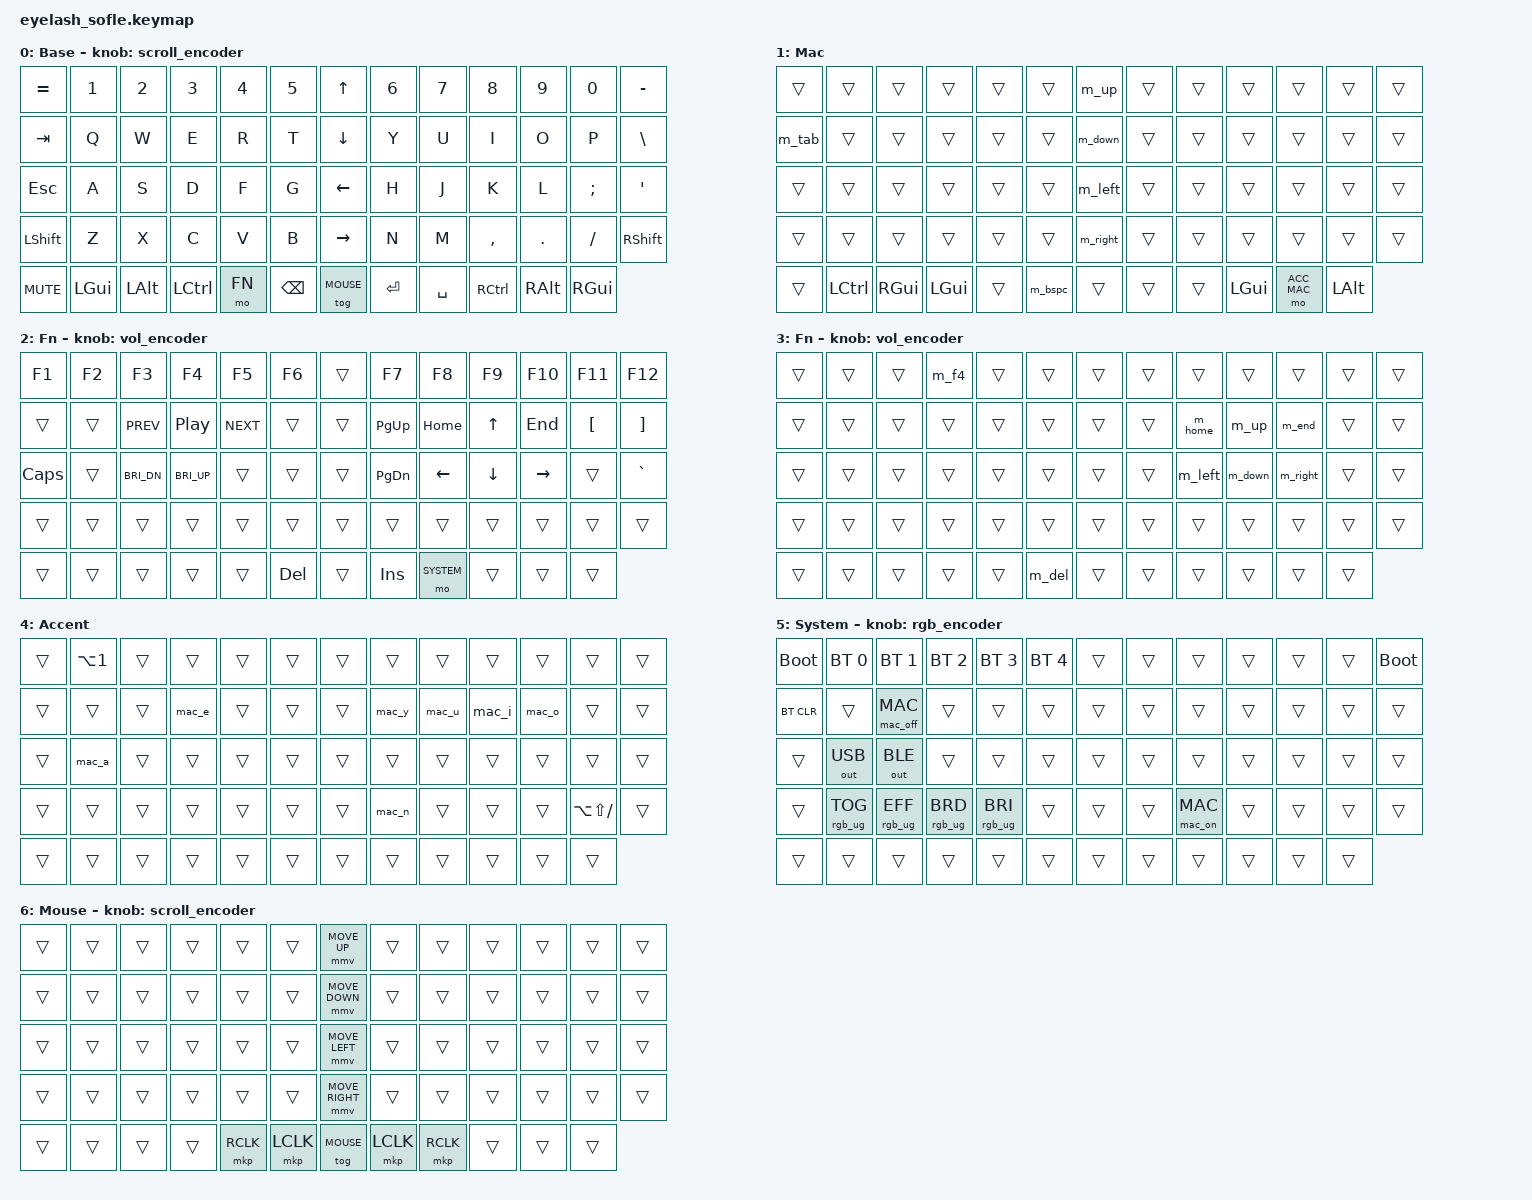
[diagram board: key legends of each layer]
#define ZMK_POINTING_DEFAULT_MOVE_VAL 1200  // 600
// Scroll speed. The scroll behavior moves every 16 ms and drops fractions, so
// 140/s gives two notches per dial click (see tap-ms on scroll_encoder).
#define ZMK_POINTING_DEFAULT_SCRL_VAL 140   // 10

#include <input/processors.dtsi>
#include <zephyr/dt-bindings/input/input-event-codes.h>
#include <behaviors.dtsi>
#include <dt-bindings/zmk/bt.h>
#include <dt-bindings/zmk/keys.h>
#include <dt-bindings/zmk/outputs.h>
#include <dt-bindings/zmk/pointing.h>
#include <dt-bindings/zmk/rgb.h>
#include <behaviors/runtime-sensor-rotate.dtsi>

// Layers. Order matters: a higher number wins when several are active.
#define BASE    0
#define MAC     1   // Mac mode: Windows-style Ctrl/Alt shortcuts, right Alt is Accent
#define FN      2   // left Fn thumb
#define FN_MAC  3   // Fn while in Mac mode
#define ACC_MAC 4   // right Alt in Mac mode
#define SYSTEM  5   // hold Fn, then hold Space
#define MOUSE   6   // joystick click toggles

// In Mac mode the Ctrl keys send left Cmd and the Alt key sends right Cmd,
// so the two can be told apart below.
#define CTRL_HELD (MOD_LGUI)
#define ALT_HELD  (MOD_RGUI)

&mmv_input_listener { input-processors = <&zip_xy_scaler 2 1>; };

&msc {
    acceleration-exponent = <0>;      // 0
    time-to-max-speed-ms = <0>;       // 300
    delay-ms = <0>;                   // 0
};

&mmv {
    time-to-max-speed-ms = <400>;
    acceleration-exponent = <1>;
};

&soft_off { hold-time-ms = <2000>; };

// Mac accents: Option+<dead key>, then the letter. Shift gives the capital.
#define MAC_ACCENT(name, dead, key) \
    name##_lo: name##_lo { \
        compatible = "zmk,behavior-macro"; \
        #binding-cells = <0>; \
        bindings = <&macro_tap &kp dead &kp key>; \
    }; \
    name##_up: name##_up { \
        compatible = "zmk,behavior-macro"; \
        #binding-cells = <0>; \
        bindings = <&macro_tap &kp dead &kp LS(key)>; \
    }; \
    name: name { \
        compatible = "zmk,behavior-mod-morph"; \
        #binding-cells = <0>; \
        bindings = <&name##_lo>, <&name##_up>; \
        mods = <(MOD_LSFT|MOD_RSFT)>; \
    };

// Sends `morphed` instead of `normal` while one of `mods` is held
// (the held modifier is not sent along with it).
#define MORPH(name, normal, morphed, held) \
    name: name { \
        compatible = "zmk,behavior-mod-morph"; \
        #binding-cells = <0>; \
        bindings = <normal>, <morphed>; \
        mods = <held>; \
    };

/ {
    behaviors {
        scroll_encoder: scroll_encoder {
            compatible = "zmk,behavior-sensor-rotate";
            #sensor-binding-cells = <0>;
            bindings = <&msc SCRL_UP>, <&msc SCRL_DOWN>;

            tap-ms = <20>;
        };

        vol_encoder: vol_encoder {
            compatible = "zmk,behavior-sensor-rotate";
            #sensor-binding-cells = <0>;
            bindings = <&kp C_VOL_UP>, <&kp C_VOL_DN>;
        };

        rgb_encoder: rgb_encoder {
            compatible = "zmk,behavior-sensor-rotate";
            #sensor-binding-cells = <0>;
            bindings = <&rgb_ug RGB_BRI>, <&rgb_ug RGB_BRD>;
        };

        MAC_ACCENT(mac_a, LA(E), A)
        MAC_ACCENT(mac_e, LA(E), E)
        MAC_ACCENT(mac_i, LA(E), I)
        MAC_ACCENT(mac_o, LA(E), O)
        MAC_ACCENT(mac_u, LA(E), U)
        MAC_ACCENT(mac_n, LA(N), N)
        MAC_ACCENT(mac_y, LA(U), U)

        // Mac mode keys that act like Windows shortcuts.
        MORPH(m_tab,   &kp TAB,       &kp LC(TAB),   CTRL_HELD)  // Ctrl+Tab: next tab
        MORPH(m_left,  &kp LEFT,      &kp LA(LEFT),  CTRL_HELD)  // Ctrl+arrow: by word
        MORPH(m_right, &kp RIGHT,     &kp LA(RIGHT), CTRL_HELD)
        MORPH(m_up,    &kp UP,        &kp LA(UP),    CTRL_HELD)
        MORPH(m_down,  &kp DOWN,      &kp LA(DOWN),  CTRL_HELD)
        MORPH(m_bspc,  &kp BSPC,      &kp LA(BSPC),  CTRL_HELD)  // delete word
        MORPH(m_del,   &kp DEL,       &kp LA(DEL),   CTRL_HELD)
        MORPH(m_home,  &kp LG(LEFT),  &kp LG(UP),    CTRL_HELD)  // line / document start
        MORPH(m_end,   &kp LG(RIGHT), &kp LG(DOWN),  CTRL_HELD)
        MORPH(m_f4,    &kp F4,        &kp LG(Q),     ALT_HELD)   // Alt+F4: quit app

        mac_on: mac_on {
            compatible = "zmk,behavior-toggle-layer";
            #binding-cells = <1>;
            toggle-mode = "on";
        };

        mac_off: mac_off {
            compatible = "zmk,behavior-toggle-layer";
            #binding-cells = <1>;
            toggle-mode = "off";
        };
    };

    combos {
        compatible = "zmk,combos";

        // Hold Q+S+Z for 2 s: deep sleep. Press reset to wake.
        softoff {
            bindings = <&soft_off>;
            key-positions = <14 28 40>;
        };

        // Brackets: press both keys together. Only on the base layer (and Mac
        // mode), only if both go down within 30 ms, and not mid-typing.
        lbkt {  // E+R
            bindings = <&kp LBKT>;
            key-positions = <16 17>;
            layers = <BASE MAC>;
            timeout-ms = <30>;
            require-prior-idle-ms = <150>;
        };
        rbkt {  // U+I
            bindings = <&kp RBKT>;
            key-positions = <21 22>;
            layers = <BASE MAC>;
            timeout-ms = <30>;
            require-prior-idle-ms = <150>;
        };
        lpar {  // D+F
            bindings = <&kp LPAR>;
            key-positions = <29 30>;
            layers = <BASE MAC>;
            timeout-ms = <30>;
            require-prior-idle-ms = <150>;
        };
        rpar {  // J+K
            bindings = <&kp RPAR>;
            key-positions = <34 35>;
            layers = <BASE MAC>;
            timeout-ms = <30>;
            require-prior-idle-ms = <150>;
        };
        lbrc {  // C+V
            bindings = <&kp LBRC>;
            key-positions = <42 43>;
            layers = <BASE MAC>;
            timeout-ms = <30>;
            require-prior-idle-ms = <150>;
        };
        rbrc {  // M+,
            bindings = <&kp RBRC>;
            key-positions = <47 48>;
            layers = <BASE MAC>;
            timeout-ms = <30>;
            require-prior-idle-ms = <150>;
        };
        bslh {  // T+Y
            bindings = <&kp BSLH>;
            key-positions = <18 20>;
            layers = <BASE MAC>;
            timeout-ms = <30>;
            require-prior-idle-ms = <150>;
        };
        pipe {  // G+H
            bindings = <&kp PIPE>;
            key-positions = <31 33>;
            layers = <BASE MAC>;
            timeout-ms = <30>;
            require-prior-idle-ms = <150>;
        };
    };

    keymap {
        compatible = "zmk,keymap";

        // Right Alt is AltGr: with Windows "United States-International" or
        // Linux "English (US, intl., with AltGr dead keys)" it types
        // á é í ó ú ñ ü ¡ ¿ (RAlt + a e i o u n y 1 /).
        base {
            display-name = "Base";
            bindings = <
&kp EQUAL   &kp N1    &kp N2    &kp N3     &kp N4     &kp N5     &kp UP          &kp N6     &kp N7     &kp N8      &kp N9     &kp N0     &kp MINUS
&kp TAB     &kp Q     &kp W     &kp E      &kp R      &kp T      &kp DOWN        &kp Y      &kp U      &kp I       &kp O      &kp P      &kp BSLH
&kp ESC     &kp A     &kp S     &kp D      &kp F      &kp G      &kp LEFT        &kp H      &kp J      &kp K       &kp L      &kp SEMI   &kp SQT
&kp LSHFT   &kp Z     &kp X     &kp C      &kp V      &kp B      &kp RIGHT       &kp N      &kp M      &kp COMMA   &kp DOT    &kp FSLH   &kp RSHFT
&kp C_MUTE  &kp LGUI  &kp LALT  &kp LCTRL  &mo FN     &kp BSPC   &tog MOUSE      &kp ENTER  &kp SPACE  &kp RCTRL   &kp RALT   &kp RGUI
            >;
            sensor-bindings = <&scroll_encoder>;
        };

        // Mac mode: Ctrl and Alt send Cmd (Ctrl+C, Alt+Tab work as on Windows),
        // left Win is the Mac's Ctrl, right Win is Option, right Alt is Accent.
        mac {
            display-name = "Mac";
            bindings = <
&trans   &trans     &trans     &trans     &trans  &trans   &m_up     &trans  &trans  &trans     &trans       &trans    &trans
&m_tab   &trans     &trans     &trans     &trans  &trans   &m_down   &trans  &trans  &trans     &trans       &trans    &trans
&trans   &trans     &trans     &trans     &trans  &trans   &m_left   &trans  &trans  &trans     &trans       &trans    &trans
&trans   &trans     &trans     &trans     &trans  &trans   &m_right  &trans  &trans  &trans     &trans       &trans    &trans
&trans   &kp LCTRL  &kp RGUI   &kp LGUI   &trans  &m_bspc  &trans    &trans  &trans  &kp LGUI   &mo ACC_MAC  &kp LALT
            >;
        };

        fn {
            display-name = "Fn";
            bindings = <
&kp F1     &kp F2  &kp F3          &kp F4          &kp F5      &kp F6    &trans  &kp F7     &kp F8      &kp F9    &kp F10    &kp F11   &kp F12
&trans     &trans  &kp C_PREV      &kp C_PP        &kp C_NEXT  &trans    &trans  &kp PG_UP  &kp HOME    &kp UP    &kp END    &kp LBKT  &kp RBKT
&kp CAPS   &trans  &kp C_BRI_DN    &kp C_BRI_UP    &trans      &trans    &trans  &kp PG_DN  &kp LEFT    &kp DOWN  &kp RIGHT  &trans    &kp GRAVE
&trans     &trans  &trans          &trans          &trans      &trans    &trans  &trans     &trans      &trans    &trans     &trans    &trans
&trans     &trans  &trans          &trans          &trans      &kp DEL   &trans  &kp INS   &mo SYSTEM  &trans    &trans     &trans
            >;
            sensor-bindings = <&vol_encoder>;
        };

        fn_mac {
            display-name = "Fn";
            bindings = <
&trans  &trans  &trans  &m_f4   &trans  &trans  &trans  &trans  &trans   &trans  &trans    &trans  &trans
&trans  &trans  &trans  &trans  &trans  &trans  &trans  &trans  &m_home  &m_up   &m_end    &trans  &trans
&trans  &trans  &trans  &trans  &trans  &trans  &trans  &trans  &m_left  &m_down &m_right  &trans  &trans
&trans  &trans  &trans  &trans  &trans  &trans  &trans  &trans  &trans   &trans  &trans    &trans  &trans
&trans  &trans  &trans  &trans  &trans  &m_del  &trans  &trans  &trans   &trans  &trans    &trans
            >;
            sensor-bindings = <&vol_encoder>;
        };

        accent_mac {
            display-name = "Accent";
            bindings = <
&trans  &kp LA(N1)  &trans  &trans  &trans  &trans  &trans  &trans  &trans  &trans  &trans  &trans            &trans
&trans  &trans      &trans  &mac_e  &trans  &trans  &trans  &mac_y  &mac_u  &mac_i  &mac_o  &trans            &trans
&trans  &mac_a      &trans  &trans  &trans  &trans  &trans  &trans  &trans  &trans  &trans  &trans            &trans
&trans  &trans      &trans  &trans  &trans  &trans  &trans  &mac_n  &trans  &trans  &trans  &kp LA(LS(FSLH))  &trans
&trans  &trans      &trans  &trans  &trans  &trans  &trans  &trans  &trans  &trans  &trans  &trans
            >;
        };

        // M = Mac mode, W = Windows/Linux mode.
        system {
            display-name = "System";
            bindings = <
&bootloader  &bt BT_SEL 0     &bt BT_SEL 1     &bt BT_SEL 2     &bt BT_SEL 3     &bt BT_SEL 4  &trans  &trans  &trans       &trans  &trans  &trans  &bootloader
&bt BT_CLR   &trans           &mac_off MAC     &trans           &trans           &trans        &trans  &trans  &trans       &trans  &trans  &trans  &trans
&trans       &out OUT_USB     &out OUT_BLE     &trans           &trans           &trans        &trans  &trans  &trans       &trans  &trans  &trans  &trans
&trans       &rgb_ug RGB_TOG  &rgb_ug RGB_EFF  &rgb_ug RGB_BRD  &rgb_ug RGB_BRI  &trans        &trans  &trans  &mac_on MAC  &trans  &trans  &trans  &trans
&trans       &trans           &trans           &trans           &trans           &trans        &trans  &trans  &trans       &trans  &trans  &trans
            >;
            sensor-bindings = <&rgb_encoder>;
        };

        mouse {
            display-name = "Mouse";
            bindings = <
&trans  &trans  &trans  &trans  &trans     &trans     &mmv MOVE_UP     &trans     &trans     &trans  &trans  &trans  &trans
&trans  &trans  &trans  &trans  &trans     &trans     &mmv MOVE_DOWN   &trans     &trans     &trans  &trans  &trans  &trans
&trans  &trans  &trans  &trans  &trans     &trans     &mmv MOVE_LEFT   &trans     &trans     &trans  &trans  &trans  &trans
&trans  &trans  &trans  &trans  &trans     &trans     &mmv MOVE_RIGHT  &trans     &trans     &trans  &trans  &trans  &trans
&trans  &trans  &trans  &trans  &mkp RCLK  &mkp LCLK  &tog MOUSE       &mkp LCLK  &mkp RCLK  &trans  &trans  &trans
            >;
            sensor-bindings = <&scroll_encoder>;
        };
    };

    conditional_layers {
        compatible = "zmk,conditional-layers";

        fn_mac {
            if-layers = <FN MAC>;
            then-layer = <FN_MAC>;
        };
    };
};
